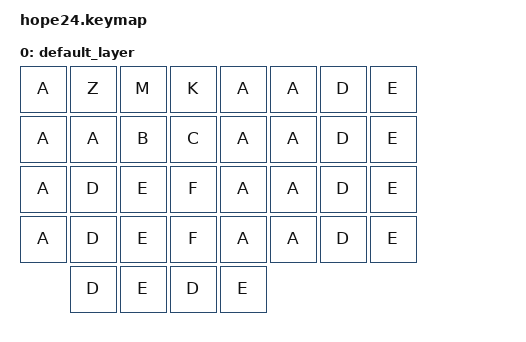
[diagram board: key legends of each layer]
#include <behaviors.dtsi>
#include <dt-bindings/zmk/keys.h>

/ {
    keymap {
        compatible = "zmk,keymap";

        default_layer { // Layer 0

            bindings = <
                &kp A    &kp Z    &kp M    &kp K      &kp A    &kp A    &kp D    &kp E
                &kp A    &kp A    &kp B    &kp C      &kp A    &kp A    &kp D    &kp E
                &kp A    &kp D    &kp E    &kp F      &kp A    &kp A    &kp D    &kp E
		&kp A    &kp D    &kp E    &kp F      &kp A    &kp A    &kp D    &kp E
		                  &kp D    &kp E      &kp D    &kp E
            >;
        };
    };
 };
